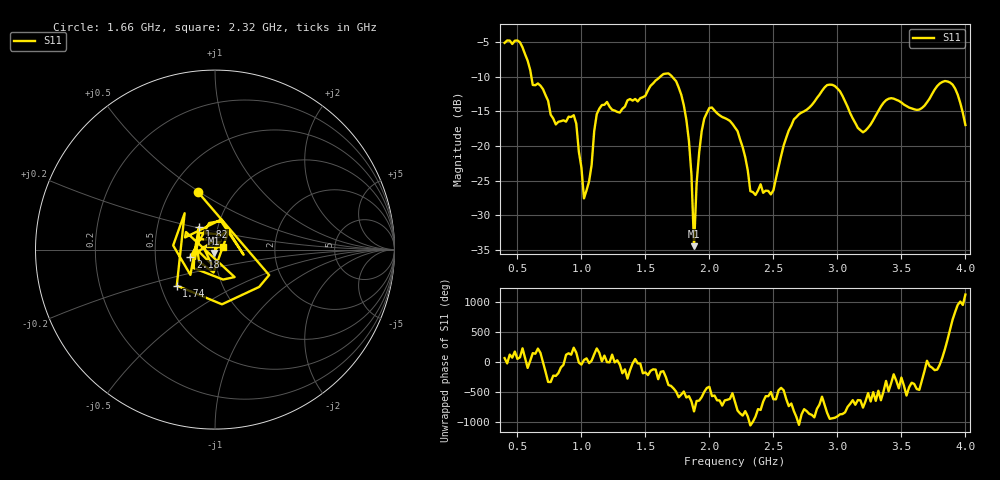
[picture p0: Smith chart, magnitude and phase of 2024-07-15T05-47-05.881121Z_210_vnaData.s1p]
!Created with skrf (http://scikit-rf.org).
# Hz S RI R 50.0
!freq ReS11 ImS11
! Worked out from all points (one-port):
!   181 points, 400 MHz to 4 GHz, reference 50 ohm
!   lowest |S11| = -34.5 dB at 1.88 GHz (marker M1), VSWR 1.04, Z = 49.4 - j1.78 ohm
!   |S11| at or under -10 dB: 608.8 MHz to 1.617 GHz (1.009 GHz wide, 90.6 % of centre); 1.708 GHz to end of sweep
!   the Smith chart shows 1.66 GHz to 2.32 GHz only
!   S11 on the Smith chart (normalised r, x): 1.66 GHz: 0.69, +0.49; 1.74 GHz: 0.60, -0.27; 1.82 GHz: 0.81, +0.21; 2.18 GHz: 0.76, -0.07; 2.32 GHz: 1.09, +0.03
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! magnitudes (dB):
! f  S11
! 400 MHz  -5.1
! 520 MHz  -5.1
! 620 MHz  -11.2
! 860 MHz  -16.3
! 960 MHz  -16.8
! 1.02 GHz  -27.6
! 1.12 GHz  -15.4
! 1.3 GHz  -15.2
! 1.66 GHz  -9.6
! 1.74 GHz  -10.7
! 1.76 GHz  -11.6
! 1.82 GHz  -16.2
! 1.86 GHz  -24.2
! 1.88 GHz  -34.5
! 1.9 GHz  -25.4
! 1.96 GHz  -16.0
! 2.18 GHz  -16.8
! 2.2 GHz  -17.3
! 2.32 GHz  -26.5
! 2.5 GHz  -26.4
! 2.66 GHz  -16.2
! 2.94 GHz  -11.2
! 3.1 GHz  -15.3
! 3.2 GHz  -18.0
! 3.4 GHz  -13.2
! 3.56 GHz  -14.5
! 3.86 GHz  -10.7
! 4 GHz  -17.0
